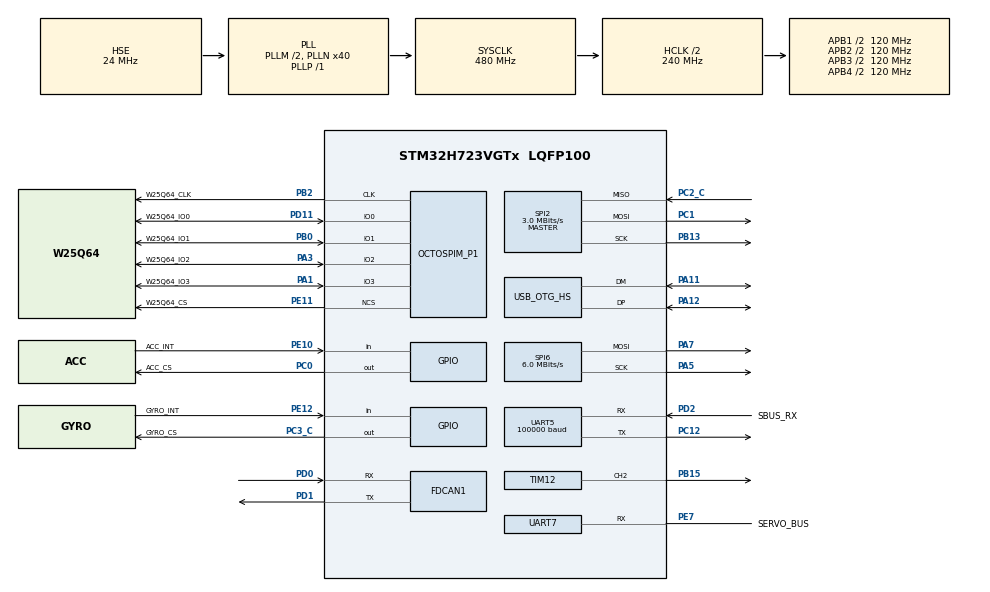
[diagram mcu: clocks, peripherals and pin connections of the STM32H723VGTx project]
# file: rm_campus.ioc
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CORTEX_M7.default_mode_Activation=1
Dma.Request0=UART5_RX
Dma.UART5_RX.0.Direction=DMA_PERIPH_TO_MEMORY
Dma.UART5_RX.0.EventEnable=DISABLE
Dma.UART5_RX.0.FIFOMode=DMA_FIFOMODE_DISABLE
Dma.UART5_RX.0.Instance=DMA1_Stream0
Dma.UART5_RX.0.MemDataAlignment=DMA_MDATAALIGN_BYTE
Dma.UART5_RX.0.MemInc=DMA_MINC_ENABLE
Dma.UART5_RX.0.Mode=DMA_CIRCULAR
Dma.UART5_RX.0.PeriphDataAlignment=DMA_PDATAALIGN_BYTE
Dma.UART5_RX.0.PeriphInc=DMA_PINC_DISABLE
Dma.UART5_RX.0.Polarity=HAL_DMAMUX_REQ_GEN_RISING
Dma.UART5_RX.0.Priority=DMA_PRIORITY_LOW
Dma.UART5_RX.0.RequestNumber=1
Dma.UART5_RX.0.SignalID=NONE
Dma.UART5_RX.0.SyncEnable=DISABLE
Dma.UART5_RX.0.SyncPolarity=HAL_DMAMUX_SYNC_NO_EVENT
Dma.UART5_RX.0.SyncRequestNumber=1
Dma.UART5_RX.0.SyncSignalID=NONE
FDCAN1.AutoRetransmission=ENABLE
FDCAN1.CalculateBaudRateNominal=1000000
FDCAN1.CalculateTimeBitNominal=1000
FDCAN1.CalculateTimeQuantumNominal=62.5
FDCAN1.ExtFiltersNbr=0
FDCAN1.FrameFormat=FDCAN_FRAME_CLASSIC
FDCAN1.MessageRAMOffset=0
FDCAN1.Mode=FDCAN_MODE_NORMAL
FDCAN1.NominalPrescaler=3
FDCAN1.NominalSyncJumpWidth=2
FDCAN1.NominalTimeSeg1=13
FDCAN1.NominalTimeSeg2=2
FDCAN1.RxFifo0ElmtSize=FDCAN_DATA_BYTES_8
FDCAN1.RxFifo0ElmtsNbr=8
FDCAN1.StdFiltersNbr=1
FDCAN1.TxElmtSize=FDCAN_DATA_BYTES_8
FDCAN1.TxFifoQueueElmtsNbr=8
FDCAN1.TxFifoQueueMode=FDCAN_TX_FIFO_OPERATION
FREERTOS.Tasks01=UsbTask,16,1024,StartUsbTask,Default,NULL,Dynamic,NULL,NULL;ImuTask,42,1024,StartImuTask,Default,NULL,Dynamic,NULL,NULL;RcTask,41,512,StartRcTask,Default,NULL,Dynamic,NULL,NULL;ChassisTask,40,1024,StartChassisTask,Default,NULL,Dynamic,NULL,NULL;ServoBusTask,32,512,StartServoBusTask,Default,NULL,Dynamic,NULL,NULL;MonitorTask,24,256,StartMonitorTask,Default,NULL,Dynamic,NULL,NULL;StatusTask,8,256,StartStatusTask,Default,NULL,Dynamic,NULL,NULL
FREERTOS.configCHECK_FOR_STACK_OVERFLOW=2
FREERTOS.configENABLE_FPU=1
FREERTOS.configTOTAL_HEAP_SIZE=49152
FREERTOS.configUSE_MALLOC_FAILED_HOOK=1
Mcu.Family=STM32H7
Mcu.Name=STM32H723VGTx
Mcu.Package=LQFP100
NVIC.DMA1_Stream0_IRQn=true\:5\:0\:false\:false\:true\:true\:false\:true\:true
NVIC.FDCAN1_IT0_IRQn=true\:5\:0\:false\:false\:true\:true\:true\:true\:true
NVIC.OTG_HS_IRQn=true\:5\:0\:false\:false\:true\:true\:false\:true\:true
NVIC.PriorityGroup=NVIC_PRIORITYGROUP_4
NVIC.TIM6_DAC_IRQn=true\:15\:0\:false\:false\:true\:false\:false\:true\:true
NVIC.TimeBase=TIM6_DAC_IRQn
NVIC.TimeBaseIP=TIM6
NVIC.UART5_IRQn=true\:5\:0\:false\:false\:true\:true\:true\:true\:true
NVIC.UART7_IRQn=true\:5\:0\:false\:false\:true\:true\:true\:true\:true
OCTOSPI2.ChipSelectBoundary=0
OCTOSPI2.ChipSelectHighTime=3
OCTOSPI2.ClockMode=HAL_OSPI_CLOCK_MODE_3
OCTOSPI2.ClockPrescaler=24
OCTOSPI2.DelayBlockBypass=HAL_OSPI_DELAY_BLOCK_BYPASSED
OCTOSPI2.DelayHoldQuarterCycle=HAL_OSPI_DHQC_DISABLE
OCTOSPI2.DeviceSize=23
OCTOSPI2.DualQuad=HAL_OSPI_DUALQUAD_DISABLE
OCTOSPI2.FifoThreshold=1
OCTOSPI2.FreeRunningClock=HAL_OSPI_FREERUNCLK_DISABLE
OCTOSPI2.MemoryType=HAL_OSPI_MEMTYPE_MICRON
OCTOSPI2.SampleShifting=HAL_OSPI_SAMPLE_SHIFTING_HALFCYCLE
OCTOSPI2.WrapSize=HAL_OSPI_WRAP_NOT_SUPPORTED
PA1.GPIO_Label=W25Q64_IO3
PA1.GPIO_PuPd=GPIO_NOPULL
PA1.GPIO_Speed=GPIO_SPEED_FREQ_VERY_HIGH
PA1.Mode=OCTOSPI2_IOL_Port1L
PA1.Signal=OCTOSPIM_P1_IO3
PA11.Mode=Device_Only_FS
PA11.Signal=USB_OTG_HS_DM
PA12.Mode=Device_Only_FS
PA12.Signal=USB_OTG_HS_DP
PA13(JTMS/SWDIO).Mode=Serial_Wire
PA13(JTMS/SWDIO).Signal=DEBUG_JTMS-SWDIO
PA14(JTCK/SWCLK).Mode=Serial_Wire
PA14(JTCK/SWCLK).Signal=DEBUG_JTCK-SWCLK
PA3.GPIO_Label=W25Q64_IO2
PA3.GPIO_PuPd=GPIO_NOPULL
PA3.GPIO_Speed=GPIO_SPEED_FREQ_VERY_HIGH
PA3.Mode=OCTOSPI2_IOL_Port1L
PA3.Signal=OCTOSPIM_P1_IO2
PA5.Mode=TX_Only_Simplex_Unidirect_Master
PA5.Signal=SPI6_SCK
PA7.GPIO_Speed=GPIO_SPEED_FREQ_HIGH
PA7.Mode=TX_Only_Simplex_Unidirect_Master
PA7.Signal=SPI6_MOSI
PB0.GPIO_Label=W25Q64_IO1
PB0.GPIO_PuPd=GPIO_NOPULL
PB0.GPIO_Speed=GPIO_SPEED_FREQ_VERY_HIGH
PB0.Mode=OCTOSPI2_IOL_Port1L
PB0.Signal=OCTOSPIM_P1_IO1
PB13.GPIO_Speed=GPIO_SPEED_FREQ_HIGH
PB13.Mode=Full_Duplex_Master
PB13.Signal=SPI2_SCK
PB15.Signal=S_TIM12_CH2
PB2.GPIO_Label=W25Q64_CLK
PB2.GPIO_PuPd=GPIO_NOPULL
PB2.GPIO_Speed=GPIO_SPEED_FREQ_VERY_HIGH
PB2.Mode=O2_P1_CLK
PB2.Signal=OCTOSPIM_P1_CLK
PC0.GPIO_Label=ACC_CS
PC0.GPIO_Speed=GPIO_SPEED_FREQ_HIGH
PC0.PinState=GPIO_PIN_SET
PC0.Signal=GPIO_Output
PC1.GPIO_Speed=GPIO_SPEED_FREQ_HIGH
PC1.Mode=Full_Duplex_Master
PC1.Signal=SPI2_MOSI
PC12.Mode=Asynchronous
PC12.Signal=UART5_TX
PC2_C.Mode=Full_Duplex_Master
PC2_C.Signal=SPI2_MISO
PC3_C.GPIO_Label=GYRO_CS
PC3_C.GPIO_Speed=GPIO_SPEED_FREQ_HIGH
PC3_C.PinState=GPIO_PIN_SET
PC3_C.Signal=GPIO_Output
PD11.GPIO_Label=W25Q64_IO0
PD11.GPIO_PuPd=GPIO_NOPULL
PD11.GPIO_Speed=GPIO_SPEED_FREQ_VERY_HIGH
PD11.Mode=OCTOSPI2_IOL_Port1L
PD11.Signal=OCTOSPIM_P1_IO0
PD0.Mode=FDCAN_Activate
PD0.Signal=FDCAN1_RX
PD1.Mode=FDCAN_Activate
PD1.Signal=FDCAN1_TX
PD2.GPIO_Label=SBUS_RX
PD2.Mode=Asynchronous
PD2.Signal=UART5_RX
PE10.GPIO_Label=ACC_INT
PE10.GPIO_PuPd=GPIO_NOPULL
PE10.Signal=GPIO_Input
PE11.GPIO_Label=W25Q64_CS
PE11.GPIO_PuPd=GPIO_NOPULL
PE11.GPIO_Speed=GPIO_SPEED_FREQ_VERY_HIGH
PE11.Mode=OCTOSPI2_Port1_NCS
PE11.Signal=OCTOSPIM_P1_NCS
PE12.GPIO_Label=GYRO_INT
PE12.GPIO_PuPd=GPIO_NOPULL
PE12.Signal=GPIO_Input
PH0-OSC_IN.Mode=HSE-External-Oscillator
PH0-OSC_IN.Signal=RCC_OSC_IN
PH1-OSC_OUT.Mode=HSE-External-Oscillator
PH1-OSC_OUT.Signal=RCC_OSC_OUT
ProjectManager.HeapSize=0x200
ProjectManager.StackSize=0x400
ProjectManager.TargetToolchain=CMake
RCC.ADCFreq_Value=48375000
RCC.APB1Freq_Value=120000000
RCC.APB2Freq_Value=120000000
RCC.APB3Freq_Value=120000000
RCC.APB4Freq_Value=120000000
RCC.CortexFreq_Value=480000000
RCC.D1PPRE=RCC_APB3_DIV2
RCC.D2PPRE1=RCC_APB1_DIV2
RCC.D2PPRE2=RCC_APB2_DIV2
RCC.D3PPRE=RCC_APB4_DIV2
RCC.DIVM1=2
RCC.DIVN1=40
RCC.DIVP1=1
RCC.DIVQ1=10
RCC.HCLKFreq_Value=240000000
RCC.HPRE=RCC_HCLK_DIV2
RCC.HSE_VALUE=24000000
RCC.PLL2FRACN=0
RCC.PLL3FRACN=0
RCC.PLLFRACN=0
RCC.PLLSourceVirtual=RCC_PLLSOURCE_HSE
RCC.QSPICLockSelection=RCC_OSPICLKSOURCE_D1HCLK
RCC.SPI6CLockSelection=RCC_SPI6CLKSOURCE_HSE
RCC.SYSCLKFreq_VALUE=480000000
RCC.SYSCLKSource=RCC_SYSCLKSOURCE_PLLCLK
RCC.USBFreq_Value=48000000
SPI2.BaudRatePrescaler=SPI_BAUDRATEPRESCALER_16
SPI2.CLKPhase=SPI_PHASE_2EDGE
SPI2.CLKPolarity=SPI_POLARITY_HIGH
SPI2.CalculateBaudRate=3.0 MBits/s
SPI2.DataSize=SPI_DATASIZE_8BIT
SPI2.Direction=SPI_DIRECTION_2LINES
SPI2.Mode=SPI_MODE_MASTER
SPI2.VirtualType=VM_MASTER
SPI6.BaudRatePrescaler=SPI_BAUDRATEPRESCALER_4
SPI6.CLKPhase=SPI_PHASE_2EDGE
SPI6.CalculateBaudRate=6.0 MBits/s
SPI6.DataSize=SPI_DATASIZE_8BIT
SPI6.Direction=SPI_DIRECTION_2LINES_TXONLY
SPI6.Mode=SPI_MODE_MASTER
SPI6.VirtualType=VM_MASTER
PE7.GPIO_ModeDefaultOutputPP=GPIO_MODE_AF_OD
PE7.GPIO_PuPd=GPIO_PULLUP
PE7.GPIO_Speed=GPIO_SPEED_FREQ_LOW
PE7.GPIO_Label=SERVO_BUS
PE7.Mode=Half_duplex(single_wire_mode)
PE7.Signal=UART7_RX
UART7.BaudRate=115200
UART7.SwapParam=UART_ADVFEATURE_SWAP_ENABLE
UART5.BaudRate=100000
UART5.Parity=PARITY_EVEN
UART5.StopBits=UART_STOPBITS_2
UART5.WordLength=WORDLENGTH_9B
USB_DEVICE.CLASS_NAME_HS=CDC
USB_DEVICE.VirtualMode=Cdc
USB_DEVICE.VirtualModeHS=Cdc_HS
USB_OTG_HS.VirtualMode-Device_Only_FS=Device_Only_FS
VP_FREERTOS_VS_CMSIS_V2.Mode=CMSIS_V2
SH.S_TIM12_CH2.0=TIM12_CH2,PWM Generation2 CH2
TIM12.Channel-PWM\ Generation2\ CH2=TIM_CHANNEL_2
TIM12.Prescaler=239
TIM12.Period=249
VP_MEMORYMAP_VS_MEMORYMAP.Mode=CurAppReg
VP_OCTOSPI2_VS_octo.Mode=octo_mode
VP_SYS_VS_tim6.Mode=TIM6
VP_TIM12_VS_ClockSourceINT.Mode=Internal
VP_USB_DEVICE_VS_USB_DEVICE_CDC_HS.Mode=CDC_HS
board=custom

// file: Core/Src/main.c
/* USER CODE BEGIN Header */
/**
  ******************************************************************************
  * @file           : main.c
  * @brief          : Main program body
  ******************************************************************************
  * @attention
  *
  * Copyright (c) 2026 STMicroelectronics.
  * All rights reserved.
  *
  * This software is licensed under terms that can be found in the LICENSE file
  * in the root directory of this software component.
  * If no LICENSE file comes with this software, it is provided AS-IS.
  *
  ******************************************************************************
  */
/* USER CODE END Header */
#include "main.h"
#include "cmsis_os.h"
#include "dma.h"
#include "fdcan.h"
#include "spi.h"
#include "octospi.h"
#include "usart.h"
#include "usb_device.h"
#include "gpio.h"

/* USER CODE BEGIN Includes */
#include "campus_app.h"
#include "robot_control_config.h"
#include "tim.h"
/* USER CODE END Includes */

void SystemClock_Config(void);
static void MPU_Config(void);
void MX_FREERTOS_Init(void);

int main(void)
{

  /* MPU Configuration--------------------------------------------------------*/
  MPU_Config();

  /* MCU Configuration--------------------------------------------------------*/

  /* Reset of all peripherals, Initializes the Flash interface and the Systick. */
  HAL_Init();

  /* Configure the system clock */
  SystemClock_Config();

  /* USER CODE BEGIN SysInit */
#if SERVO_STATUS_ONLY
  /* USB 在 UsbTask 中初始化，保留 PA11/PA12 所在端口时钟。UART7 MSP 自行开启 GPIOE。 */
  __HAL_RCC_GPIOA_CLK_ENABLE();
  MX_UART7_Init();
#else
  /* USER CODE END SysInit */

  /* Initialize all configured peripherals */
  MX_GPIO_Init();
  MX_DMA_Init();
  MX_SPI2_Init();
  MX_SPI6_Init();
  MX_UART5_Init();
  MX_FDCAN1_Init();
  MX_OCTOSPI2_Init();
  MX_UART7_Init();
#if ROBOT_CONTROL_ENABLE
  MX_TIM12_Init();
#endif
  /* USER CODE BEGIN 2 */
#ifndef SERVO_ID_SETUP
/* 接通 CAN 和电机反馈；尚不发送非零电流。 */
  /* Campus_Init 只启动 CAN 与电机反馈；DMA 接收在调度器启动后的 RcTask 中启动。
   * 对象初始化必须先于 CAN 接收 IRQ；当前不在此处使能运动或发送非零电流。 */
  Campus_Init();
#endif
#endif /* SERVO_STATUS_ONLY */
  /* USER CODE END 2 */

  /* Init scheduler */
  osKernelInitialize();  /* Call init function for freertos objects (in cmsis_os2.c) */
  MX_FREERTOS_Init();

  /* Start scheduler */
  osKernelStart();

  /* We should never get here as control is now taken by the scheduler */

  /* Infinite loop */
  while (1)
  {

  }
}

void SystemClock_Config(void)
{
  RCC_OscInitTypeDef RCC_OscInitStruct = {0};
  RCC_ClkInitTypeDef RCC_ClkInitStruct = {0};

  /** Supply configuration update enable
  */
  HAL_PWREx_ConfigSupply(PWR_LDO_SUPPLY);

  /** Configure the main internal regulator output voltage
  */
  __HAL_PWR_VOLTAGESCALING_CONFIG(PWR_REGULATOR_VOLTAGE_SCALE0);

  while(!__HAL_PWR_GET_FLAG(PWR_FLAG_VOSRDY)) {}

  /** Initializes the RCC Oscillators according to the specified parameters
  * in the RCC_OscInitTypeDef structure.
  */
  RCC_OscInitStruct.OscillatorType = RCC_OSCILLATORTYPE_HSE;
  RCC_OscInitStruct.HSEState = RCC_HSE_ON;
  RCC_OscInitStruct.PLL.PLLState = RCC_PLL_ON;
  RCC_OscInitStruct.PLL.PLLSource = RCC_PLLSOURCE_HSE;
  RCC_OscInitStruct.PLL.PLLM = 2;
  RCC_OscInitStruct.PLL.PLLN = 40;
  RCC_OscInitStruct.PLL.PLLP = 1;
  RCC_OscInitStruct.PLL.PLLQ = 10;
  RCC_OscInitStruct.PLL.PLLR = 2;
  RCC_OscInitStruct.PLL.PLLRGE = RCC_PLL1VCIRANGE_3;
  RCC_OscInitStruct.PLL.PLLVCOSEL = RCC_PLL1VCOWIDE;
  RCC_OscInitStruct.PLL.PLLFRACN = 0;
  if (HAL_RCC_OscConfig(&RCC_OscInitStruct) != HAL_OK)
  {
    Error_Handler();
  }

  /** Initializes the CPU, AHB and APB buses clocks
  */
  RCC_ClkInitStruct.ClockType = RCC_CLOCKTYPE_HCLK|RCC_CLOCKTYPE_SYSCLK
                              |RCC_CLOCKTYPE_PCLK1|RCC_CLOCKTYPE_PCLK2
                              |RCC_CLOCKTYPE_D3PCLK1|RCC_CLOCKTYPE_D1PCLK1;
  RCC_ClkInitStruct.SYSCLKSource = RCC_SYSCLKSOURCE_PLLCLK;
  RCC_ClkInitStruct.SYSCLKDivider = RCC_SYSCLK_DIV1;
  RCC_ClkInitStruct.AHBCLKDivider = RCC_HCLK_DIV2;
  RCC_ClkInitStruct.APB3CLKDivider = RCC_APB3_DIV2;
  RCC_ClkInitStruct.APB1CLKDivider = RCC_APB1_DIV2;
  RCC_ClkInitStruct.APB2CLKDivider = RCC_APB2_DIV2;
  RCC_ClkInitStruct.APB4CLKDivider = RCC_APB4_DIV2;

  if (HAL_RCC_ClockConfig(&RCC_ClkInitStruct, FLASH_LATENCY_3) != HAL_OK)
  {
    Error_Handler();
  }
}

 /* MPU Configuration */

void MPU_Config(void)
{
  MPU_Region_InitTypeDef MPU_InitStruct = {0};

  /* Disables the MPU */
  HAL_MPU_Disable();

  /** Initializes and configures the Region and the memory to be protected
  */
  MPU_InitStruct.Enable = MPU_REGION_ENABLE;
  MPU_InitStruct.Number = MPU_REGION_NUMBER0;
  MPU_InitStruct.BaseAddress = 0x0;
  MPU_InitStruct.Size = MPU_REGION_SIZE_4GB;
  MPU_InitStruct.SubRegionDisable = 0x87;
  MPU_InitStruct.TypeExtField = MPU_TEX_LEVEL0;
  MPU_InitStruct.AccessPermission = MPU_REGION_NO_ACCESS;
  MPU_InitStruct.DisableExec = MPU_INSTRUCTION_ACCESS_DISABLE;
  MPU_InitStruct.IsShareable = MPU_ACCESS_SHAREABLE;
  MPU_InitStruct.IsCacheable = MPU_ACCESS_NOT_CACHEABLE;
  MPU_InitStruct.IsBufferable = MPU_ACCESS_NOT_BUFFERABLE;

  HAL_MPU_ConfigRegion(&MPU_InitStruct);
  /* Enables the MPU */
  HAL_MPU_Enable(MPU_PRIVILEGED_DEFAULT);

}

void HAL_TIM_PeriodElapsedCallback(TIM_HandleTypeDef *htim)
{
  if (htim->Instance == TIM6)
  {
    HAL_IncTick();
  }
}

void Error_Handler(void)
{
  __disable_irq();
  while (1)
  {
  }
}

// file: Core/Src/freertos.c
/* USER CODE BEGIN Header */
/**
  ******************************************************************************
  * File Name          : freertos.c
  * Description        : Code for freertos applications
  ******************************************************************************
  * @attention
  *
  * Copyright (c) 2026 STMicroelectronics.
  * All rights reserved.
  *
  * This software is licensed under terms that can be found in the LICENSE file
  * in the root directory of this software component.
  * If no LICENSE file comes with this software, it is provided AS-IS.
  *
  ******************************************************************************
  */
/* USER CODE END Header */

#include "FreeRTOS.h"
#include "task.h"
#include "main.h"
#include "cmsis_os.h"

/* USER CODE BEGIN Includes */
#include "campus_app.h"
#include "servo_app.h"
#include "robot_control_config.h"
#include "usb_app.h"
#include "imu_app.h"
#include "flash_tasks.h"
#ifdef SERVO_ID_SETUP
#include "servo_id_setup.h"
#endif
/* USER CODE END Includes */

/* Definitions for UsbTask */
osThreadId_t UsbTaskHandle;
const osThreadAttr_t UsbTask_attributes = {
  .name = "UsbTask",
  .stack_size = 1024 * 4,
  .priority = (osPriority_t) osPriorityBelowNormal,
};
/* Definitions for ImuTask */
osThreadId_t ImuTaskHandle;
const osThreadAttr_t ImuTask_attributes = {
  .name = "ImuTask",
  .stack_size = 1024 * 4,
  .priority = (osPriority_t) osPriorityHigh2,
};
/* Definitions for RcTask */
osThreadId_t RcTaskHandle;
const osThreadAttr_t RcTask_attributes = {
  .name = "RcTask",
  .stack_size = 512 * 4,
  .priority = (osPriority_t) osPriorityHigh1,
};
/* Definitions for ChassisTask */
osThreadId_t ChassisTaskHandle;
const osThreadAttr_t ChassisTask_attributes = {
  .name = "ChassisTask",
  .stack_size = 1024 * 4,
  .priority = (osPriority_t) osPriorityHigh,
};
/* Definitions for ServoBusTask */
osThreadId_t ServoBusTaskHandle;
const osThreadAttr_t ServoBusTask_attributes = {
  .name = "ServoBusTask",
  .stack_size = 512 * 4,
  .priority = (osPriority_t) osPriorityAboveNormal,
};
/* Definitions for MonitorTask */
osThreadId_t MonitorTaskHandle;
const osThreadAttr_t MonitorTask_attributes = {
  .name = "MonitorTask",
  .stack_size = 256 * 4,
  .priority = (osPriority_t) osPriorityNormal,
};
/* Definitions for StatusTask */
osThreadId_t StatusTaskHandle;
const osThreadAttr_t StatusTask_attributes = {
  .name = "StatusTask",
  .stack_size = 256 * 4,
  .priority = (osPriority_t) osPriorityLow,
};

void StartUsbTask(void *argument);
void StartImuTask(void *argument);
void StartRcTask(void *argument);
void StartChassisTask(void *argument);
void StartServoBusTask(void *argument);
void StartMonitorTask(void *argument);
void StartStatusTask(void *argument);

extern void MX_USB_DEVICE_Init(void);
void MX_FREERTOS_Init(void); /* (MISRA C 2004 rule 8.1) */

/* Hook prototypes */
void vApplicationStackOverflowHook(xTaskHandle xTask, signed char *pcTaskName);
void vApplicationMallocFailedHook(void);

/* USER CODE BEGIN 4 */
void vApplicationStackOverflowHook(xTaskHandle xTask, signed char *pcTaskName)
{
  (void)xTask;
  (void)pcTaskName;

  /* Stop scheduling on stack overflow; set a debugger breakpoint here. */
  taskDISABLE_INTERRUPTS();
  for (;;)
  {
  }
}
/* USER CODE END 4 */

/* USER CODE BEGIN 5 */
void vApplicationMallocFailedHook(void)
{
  /* Stop scheduling on allocation failure; set a debugger breakpoint here. */
  taskDISABLE_INTERRUPTS();
  for (;;)
  {
  }
}
/* USER CODE END 5 */

void MX_FREERTOS_Init(void) {
  /* USER CODE BEGIN Init */
#if SERVO_STATUS_ONLY
  /* 不依赖遥控器：USB 接收状态查询，ServoBusTask 独占 UART7 轮询五台舵机。 */
  UsbTaskHandle = osThreadNew(StartUsbTask, NULL, &UsbTask_attributes);
  ServoBusTaskHandle = osThreadNew(StartServoBusTask, NULL, &ServoBusTask_attributes);
  if (UsbTaskHandle == NULL || ServoBusTaskHandle == NULL) Error_Handler();
  return;
#endif
#if ROBOT_CONTROL_ENABLE
  /* 整机模式独占 CAN、UART7、LED 和蜂鸣器，只创建控制所需任务。 */
  RcTaskHandle = osThreadNew(StartRcTask, NULL, &RcTask_attributes);
  ChassisTaskHandle = osThreadNew(StartChassisTask, NULL, &ChassisTask_attributes);
  ServoBusTaskHandle = osThreadNew(StartServoBusTask, NULL, &ServoBusTask_attributes);
  MonitorTaskHandle = osThreadNew(StartMonitorTask, NULL, &MonitorTask_attributes);
  StatusTaskHandle = osThreadNew(StartStatusTask, NULL, &StatusTask_attributes);
  if (!RcTaskHandle || !ChassisTaskHandle || !ServoBusTaskHandle || !MonitorTaskHandle || !StatusTaskHandle)
    Error_Handler();
#if ROBOT_SERVO_TELEMETRY_ENABLE
  UsbTaskHandle = osThreadNew(StartUsbTask, NULL, &UsbTask_attributes);
  if (UsbTaskHandle == NULL) Error_Handler();
#endif
  return;
#endif
#ifdef SERVO_ID_SETUP
  /* 改号固件仅启动 USB 任务，由它独占舵机总线。 */
  UsbTaskHandle = osThreadNew(StartUsbTask, NULL, &UsbTask_attributes);
  if (UsbTaskHandle == NULL) Error_Handler();
  return;
#endif

  /* USER CODE END Init */

  /* Create the thread(s) */
  /* creation of UsbTask */
  UsbTaskHandle = osThreadNew(StartUsbTask, NULL, &UsbTask_attributes);

  /* creation of ImuTask */
  ImuTaskHandle = osThreadNew(StartImuTask, NULL, &ImuTask_attributes);

  /* creation of RcTask */
  RcTaskHandle = osThreadNew(StartRcTask, NULL, &RcTask_attributes);

  /* creation of ChassisTask */
  ChassisTaskHandle = osThreadNew(StartChassisTask, NULL, &ChassisTask_attributes);

  /* creation of ServoBusTask */
  ServoBusTaskHandle = osThreadNew(StartServoBusTask, NULL, &ServoBusTask_attributes);

  /* creation of MonitorTask */
  MonitorTaskHandle = osThreadNew(StartMonitorTask, NULL, &MonitorTask_attributes);

  /* creation of StatusTask */
  StatusTaskHandle = osThreadNew(StartStatusTask, NULL, &StatusTask_attributes);

  /* USER CODE BEGIN RTOS_THREADS */
  /* 按两个独立编译开关创建业务任务及共用 Flash 服务，生成代码时保留。 */
  FlashTasks_Create();
  /* USER CODE END RTOS_THREADS */

}

/* USER CODE BEGIN Header_StartUsbTask */
/**
  * @brief USB 初始化、收发队列服务和应用层接收入口。
  * @note UsbTask 在 .ioc 任务列表中排第一，使 CubeMX 把 USB 初始化放在此任务。
  */
/* USER CODE END Header_StartUsbTask */
void StartUsbTask(void *argument)
{
  /* init code for USB_DEVICE */
  MX_USB_DEVICE_Init();
  /* USER CODE BEGIN StartUsbTask */
#ifdef SERVO_ID_SETUP
  ServoIdSetup_Task();
#else
  Campus_UsbTask(argument);
#endif
  /* USER CODE END StartUsbTask */
}

/* USER CODE BEGIN Header_StartImuTask */
/**
  * @brief BMI088 采样、静止校准和姿态解算任务；本版本不接入恒温加热。
  * @note 周期及重试逻辑由应用层管理，优先级高于底盘控制任务。
  */
/* USER CODE END Header_StartImuTask */
void StartImuTask(void *argument)
{
  /* USER CODE BEGIN StartImuTask */
  Campus_ImuTask(argument);
  /* USER CODE END StartImuTask */
}

/* USER CODE BEGIN Header_StartRcTask */
/**
  * @brief 遥控接收任务：UART5 循环 DMA、SBUS 解包及串口错误恢复。
  * @note 接收事件唤醒，10 ms 超时处理。
  * @param argument 未使用。
  */
/* USER CODE END Header_StartRcTask */
void StartRcTask(void *argument)
{
  /* USER CODE BEGIN StartRcTask */
  /* 进入应用层常驻循环：接收事件唤醒后组帧、解析，处理串口异常。该函数内部不会正常返回。 */
  Campus_RcTask(argument);
  /* USER CODE END StartRcTask */
}

/* USER CODE BEGIN Header_StartChassisTask */
/**
  * @brief 底盘驱动联调任务：四个 M3508 反馈与统一 CAN 零电流发送。
  * @note 1 ms 固定周期；麦轮解算和 PID 尚未接入。
  * @param argument 未使用。
  */
/* USER CODE END Header_StartChassisTask */
void StartChassisTask(void *argument)
{
  /* USER CODE BEGIN StartChassisTask */
  /* 进入应用层 1 ms 循环：当前四路零电流联调，尚未接入 PID/麦轮解算。该函数内部不会正常返回。 */
Campus_ChassisTask(argument);
  /* USER CODE END StartChassisTask */
}

/* USER CODE BEGIN Header_StartServoBusTask */
/**
  * @brief UART7 众灵总线舵机任务：五台独立查询、非阻塞请求调度。
  * @note 上电只查询，不自动运动或改写设备参数。
  * @param argument 未使用。
  */
/* USER CODE END Header_StartServoBusTask */
void StartServoBusTask(void *argument)
{
  /* USER CODE BEGIN StartServoBusTask */
  Campus_ServoTask(argument);
  /* USER CODE END StartServoBusTask */
}

/* USER CODE BEGIN Header_StartMonitorTask */
/**
  * @brief 系统监测任务：遥控、电机反馈超时及 CAN Bus-Off 状态。
  * @note 10 ms 固定周期。
  * @param argument 未使用。
  */
/* USER CODE END Header_StartMonitorTask */
void StartMonitorTask(void *argument)
{
  /* USER CODE BEGIN StartMonitorTask */
  /* 进入应用层 10 ms 循环：对遥控时间戳、电机反馈时间戳和 CAN 状态做监测。该函数内部不会正常返回。 */
Campus_MonitorTask(argument);
  /* USER CODE END StartMonitorTask */
}

/* USER CODE BEGIN Header_StartStatusTask */
/**
  * @brief LED 状态指示任务：显示遥控、电机与 CAN 状态。
  * @note 50 ms 周期；本次不接入蜂鸣器。
  * @param argument 未使用。
  */
/* USER CODE END Header_StartStatusTask */
void StartStatusTask(void *argument)
{
  /* USER CODE BEGIN StartStatusTask */
  /* 进入应用层 50 ms 循环：只更新 LED，不使用蜂鸣器。该函数内部不会正常返回。 */
Campus_StatusTask(argument);
  /* USER CODE END StartStatusTask */
}
